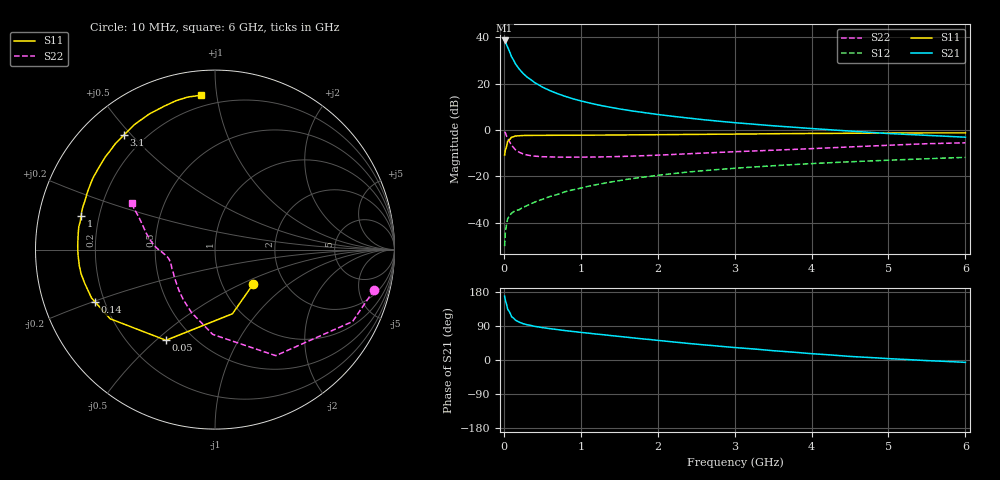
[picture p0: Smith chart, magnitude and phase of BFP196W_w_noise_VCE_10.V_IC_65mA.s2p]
! Infineon Technologies  Discrete & RF Semiconductors
! BFP196W
! VCE =  10. V,  IC =  65 mA
! Common Emitter S-Parameters:  Jan 2017
# GHz  S  MA  R  50
!  f  S11  S21  S12  S22
! GHz  MAG  ANG  MAG  ANG  MAG  ANG  MAG  ANG
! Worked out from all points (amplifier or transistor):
!   77 points, 10 MHz to 6 GHz, reference 50 ohm
!   highest |S21| = 38.6 dB at 10 MHz (marker M1)
!   |S21| within 3 dB of that: start of sweep to 50.42 MHz
!   unconditionally stable (mu >= 1): 640.4 MHz to 3.263 GHz
!   at 130 MHz: K = 0.45, MSG = 32.6 dB, |S12| = -35.2 dB
!   at 2.2 GHz: K = 1.04, MAG = 11.1 dB, |S12| = -18.9 dB
!   at 6 GHz: K = 0.92, MSG = 4.3 dB, |S12| = -11.8 dB
!   lowest NFmin = 1.51 dB at 450 MHz
!   S11 on the Smith chart (normalised r, x): 10 MHz: 1.39, -0.59; 50 MHz: 0.36, -0.54; 140 MHz: 0.16, -0.20; 1 GHz: 0.13, +0.12; 3.1 GHz: 0.13, +0.48; 6 GHz: 0.13, +0.90
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0.01  0.2871 -42.6  85.37 168.6  0.0031 73.5  0.9146 -14.2
0.02  0.3705 -74.8  80.52 157.4  0.0062 65.2  0.865 -27.6
0.05  0.5744 -118.4  60.65 133.7  0.0121 52.7  0.681 -60.2
0.1  0.6999 -146.6  38.1 114.3  0.016 43.8  0.4727 -91.5
0.14  0.7285 -156.3  29.07 107.6  0.0177 42.5  0.3908 -105.8
0.15  0.7388 -158.6  26.91 105.3  0.0181 42.2  0.3752 -110.3
0.2  0.7491 -165.2  20.58 99.8  0.019 44.9  0.3304 -122.2
0.25  0.7583 -169.8  16.61 95.9  0.0214 47.2  0.3041 -131.2
0.3  0.7612 -173.1  13.9 93.2  0.0232 48.3  0.2883 -137.6
0.4  0.7639 -178.0  10.53 88.8  0.0277 54.5  0.2721 -146.5
0.5  0.7651 178.5  8.43 85.5  0.0318 56.4  0.2643 -152.3
0.6  0.7659 175.5  7.049 82.7  0.0366 58.5  0.2622 -156.5
0.7  0.7675 173.0  6.04 80.2  0.0406 60.8  0.2591 -159.5
0.8  0.7695 170.5  5.294 77.5  0.0467 62.7  0.2584 -161.5
1  0.7692 166.0  4.241 72.9  0.0555 62.8  0.2588 -165.2
1.1  0.7723 163.9  3.865 70.8  0.061 63.1  0.2598 -166.2
1.5  0.7787 156.2  2.846 62.2  0.0804 62.0  0.2673 -170.8
2.1  0.7919 144.9  2.06 49.8  0.1094 58.2  0.2905 -176.3
3.1  0.8152 128.6  1.392 31.4  0.1527 49.8  0.3439 175.2
4.1  0.8405 114.5  1.046 15.4  0.1912 41.6  0.4015 165.2
5.1  0.8584 103.7  0.822 2.6  0.2255 33.6  0.4745 155.7
6  0.8631 95.3  0.697 -6.2  0.256 26.8  0.5277 150.8
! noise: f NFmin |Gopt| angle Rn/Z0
0.45  1.51  0.53  -175  0.06
0.9  1.64  0.57  -170  0.07
1.9  2.49  0.7  -148  0.18
2.4  2.88  0.74  -144  0.28
